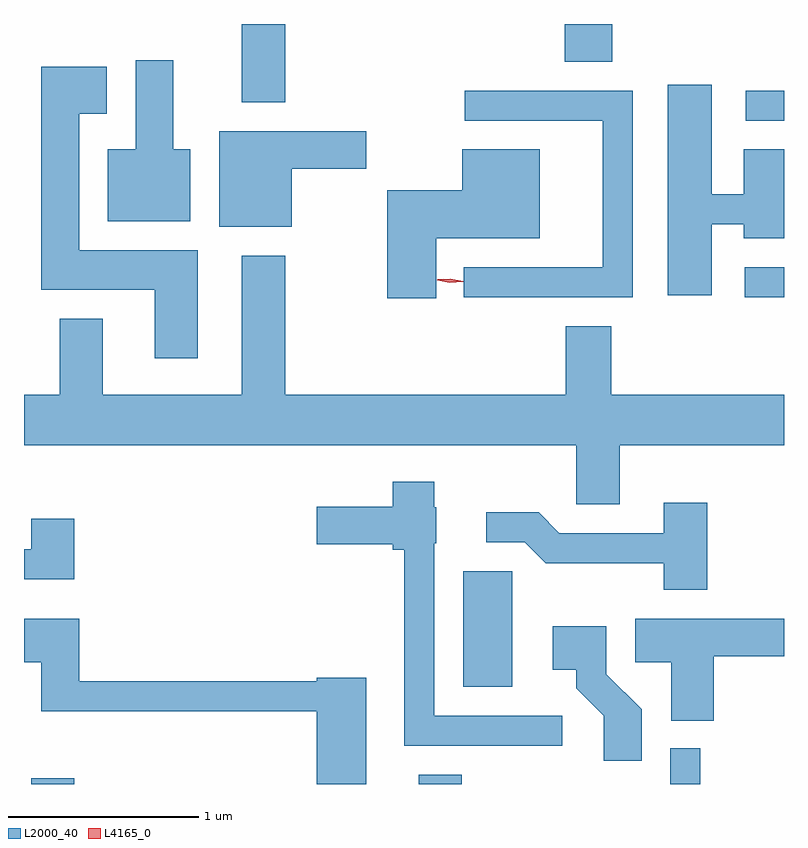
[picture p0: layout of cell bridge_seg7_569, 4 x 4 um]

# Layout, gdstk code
import gdstk
lib = gdstk.Library(unit=1e-6, precision=1e-09)
def R(c, l, rs):  # rectangles x0, y0, x1, y1
    for r in rs: c.add(gdstk.rectangle(r[:2], r[2:], *l))
def P(c, l, *ps):  # polygons
    for p in ps: c.add(gdstk.Polygon(p, *l))
L2000_40 = (2000, 40)
L4165_0 = (4165, 0)

bridge_seg7_569 = lib.new_cell('bridge_seg7_569')
R(bridge_seg7_569, L2000_40, [(762.101,1743.614,762.329,1743.644), (764.141,1743.614,764.369,1743.664), (765.466,1743.614,765.624,1743.803), (764.376,1744.126,764.634,1744.734), (765.858,1746.176,766.064,1746.334), (765.863,1747.106,766.064,1747.264), (763.211,1747.201,763.439,1747.614), (764.911,1747.416,765.159,1747.614)])
P(bridge_seg7_569, L2000_40, [(762.939,1746.954),(762.849,1746.954),(762.849,1747.424),(762.651,1747.424),(762.651,1746.954),(762.506,1746.954),(762.506,1746.576),(762.939,1746.576)],
  [(762.979,1746.424),(762.354,1746.424),(762.354,1747.141),(762.499,1747.141),(762.499,1747.389),(762.156,1747.389),(762.156,1746.216),(762.751,1746.216),(762.751,1745.856),(762.979,1745.856)],
  [(765.684,1746.561),(765.851,1746.561),(765.851,1746.486),(766.064,1746.486),(766.064,1746.954),(765.851,1746.954),(765.851,1746.719),(765.684,1746.719),(765.684,1747.294),(765.451,1747.294),(765.451,1746.186),(765.684,1746.186)],
  [(765.269,1747.264),(764.383,1747.264),(764.383,1747.106),(765.111,1747.106),(765.111,1746.334),(764.378,1746.334),(764.378,1746.176),(765.269,1746.176)],
  [(763.474,1746.851),(763.864,1746.851),(763.864,1747.049),(763.091,1747.049),(763.091,1746.546),(763.474,1746.546)],
  [(764.234,1746.486),(764.779,1746.486),(764.779,1746.954),(764.371,1746.954),(764.371,1746.739),(763.976,1746.739),(763.976,1746.171),(764.234,1746.171)],
  [(765.199,1745.396),(766.064,1745.396),(766.064,1745.664),(765.154,1745.664),(765.154,1746.024),(764.916,1746.024),(764.916,1745.664),(763.439,1745.664),(763.439,1746.394),(763.211,1746.394),(763.211,1745.664),(762.479,1745.664),(762.479,1746.064),(762.251,1746.064),(762.251,1745.664),(762.064,1745.664),(762.064,1745.396),(764.971,1745.396),(764.971,1745.086),(765.199,1745.086)],
  [(764.898,1743.974),(764.224,1743.974),(764.224,1744.88),(764.234,1744.88),(764.234,1745.07),(764.224,1745.07),(764.224,1745.204),(764.006,1745.204),(764.006,1745.074),(763.606,1745.074),(763.606,1744.876),(764.006,1744.876),(764.006,1744.846),(764.066,1744.846),(764.066,1743.816),(764.898,1743.816)],
  [(765.659,1745.094),(765.431,1745.094),(765.431,1744.934),(764.882,1744.934),(764.772,1745.044),(764.498,1745.044),(764.498,1744.886),(764.699,1744.886),(764.809,1744.776),(765.431,1744.776),(765.431,1744.636),(765.659,1744.636)],
  [(762.329,1745.009),(762.101,1745.009),(762.101,1744.849),(762.064,1744.849),(762.064,1744.691),(762.329,1744.691)],
  [(763.864,1744.174),(763.606,1744.174),(763.606,1744.154),(762.354,1744.154),(762.354,1744.484),(762.064,1744.484),(762.064,1744.256),(762.156,1744.256),(762.156,1743.996),(763.606,1743.996),(763.606,1743.614),(763.864,1743.614)],
  [(765.694,1744.286),(766.064,1744.286),(766.064,1744.484),(765.281,1744.484),(765.281,1744.256),(765.471,1744.256),(765.471,1743.946),(765.694,1743.946)],
  [(765.314,1744.007),(765.129,1744.192),(765.129,1744.444),(764.846,1744.444),(764.846,1744.216),(764.971,1744.216),(764.971,1744.119),(765.116,1743.974),(765.116,1743.736),(765.314,1743.736)])
P(bridge_seg7_569, L4165_0, [(764.306,1746.252),(764.238,1746.266),(764.238,1746.266),(764.238,1746.267),(764.307,1746.272),(764.375,1746.259),(764.376,1746.258),(764.375,1746.258)],
  [(764.306,1746.254),(764.241,1746.269),(764.24,1746.269),(764.241,1746.27),(764.307,1746.274),(764.372,1746.259),(764.372,1746.258),(764.372,1746.258)])

lib.write_gds('bridge_seg7_569.gds')
